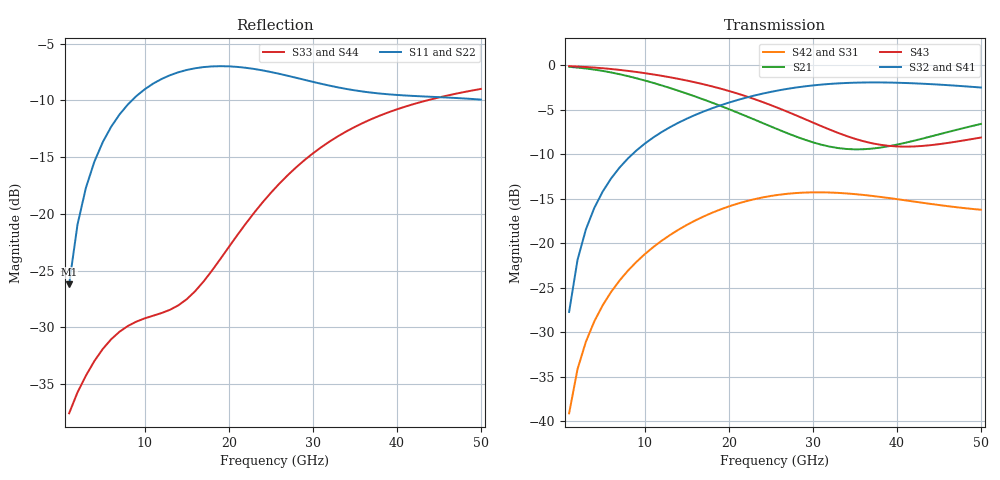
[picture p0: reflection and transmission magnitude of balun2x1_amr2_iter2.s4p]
! Created with skrf 2.2.0 (http://scikit-rf.org).
# GHz S DB R 50.0
! Port[1] = P1
! Port[2] = P2
! Port[3] = P3
! Port[4] = P4
!freq dBS11 angS11 dBS12 angS12 dBS13 angS13
! dBS14 angS14
! dBS21 angS21 dBS22 angS22 dBS23 angS23
! dBS24 angS24
! dBS31 angS31 dBS32 angS32 dBS33 angS33
! dBS34 angS34
! dBS41 angS41 dBS42 angS42 dBS43 angS43
! dBS44 angS44
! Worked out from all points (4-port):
!   50 points, 1 GHz to 50 GHz, reference 50 ohm
!   strongest paths, dB at 1 GHz, 13 GHz, 26 GHz, 38 GHz, 50 GHz:
!     S32: -27.7, -7.0, -2.8, -1.9, -2.5
!     S41: -27.7, -7.0, -2.8, -2.0, -2.6
!     S43: -0.1, -1.4, -4.9, -8.9, -8.1
!     S21: -0.2, -2.6, -7.3, -9.3, -6.6
!     S42: -39.1, -19.1, -14.6, -14.8, -16.2
!     S31: -39.1, -19.2, -14.7, -15.0, -16.4
!   lowest |S11| = -26.2 dB at 1 GHz (marker M1), VSWR 1.10, Z = 52 + j4.59 ohm
!   |S11| at or under -10 dB: start of sweep to 8.472 GHz
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1  -26.20 64.0  -0.19 -5.3  -39.11 -110.9  -27.72 84.2
   -0.19 -5.3  -26.20 64.0  -27.72 84.2  -39.11 -111.0
   -39.11 -110.9  -27.72 84.2  -37.58 21.0  -0.12 -2.6
   -27.72 84.2  -39.11 -111.0  -0.12 -2.6  -37.57 21.0
4  -15.40 62.1  -0.50 -19.8  -28.79 -135.5  -16.03 73.5
   -0.50 -19.8  -15.41 61.9  -16.03 73.5  -28.78 -135.8
   -28.79 -135.5  -16.03 73.5  -32.97 23.7  -0.28 -9.8
   -16.03 73.5  -28.78 -135.8  -0.28 -9.8  -32.96 23.4
9  -9.61 40.5  -1.47 -43.0  -22.14 -177.2  -9.60 55.8
   -1.47 -43.0  -9.63 40.1  -9.60 55.8  -22.11 -177.9
   -22.14 -177.2  -9.60 55.8  -29.49 -7.3  -0.77 -21.1
   -9.60 55.8  -22.11 -177.9  -0.77 -21.1  -29.46 -7.9
17  -7.06 9.0  -3.86 -79.0  -17.09 123.9  -5.22 31.1
    -3.86 -79.0  -7.09 8.1  -5.21 31.0  -17.00 122.9
    -17.09 123.9  -5.21 31.0  -25.96 -102.2  -2.15 -37.3
    -5.22 31.1  -17.00 122.9  -2.15 -37.3  -25.76 -102.9
28  -8.00 -19.5  -8.02 -140.7  -14.53 59.6  -2.54 -0.9
    -8.02 -140.7  -8.15 -21.0  -2.52 -1.1  -14.37 57.9
    -14.53 59.6  -2.52 -1.1  -15.91 167.8  -5.64 -52.2
    -2.54 -0.9  -14.37 57.9  -5.64 -52.2  -15.72 167.6
37  -9.31 -28.4  -9.38 152.3  -14.89 21.7  -1.97 -25.7
    -9.38 152.3  -9.62 -29.7  -1.94 -26.0  -14.68 19.1
    -14.89 21.7  -1.94 -26.0  -11.64 127.2  -8.77 -45.0
    -1.97 -25.7  -14.68 19.1  -8.77 -45.0  -11.47 126.8
50  -9.92 -41.1  -6.61 85.2  -16.38 -7.9  -2.56 -54.8
    -6.61 85.2  -10.27 -41.6  -2.52 -55.3  -16.24 -12.1
    -16.38 -7.9  -2.52 -55.3  -8.98 90.4  -8.14 -28.5
    -2.56 -54.8  -16.24 -12.1  -8.14 -28.5  -8.83 89.7
